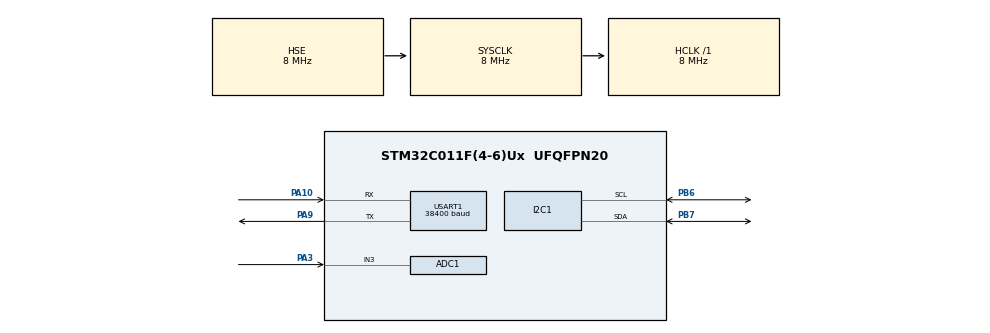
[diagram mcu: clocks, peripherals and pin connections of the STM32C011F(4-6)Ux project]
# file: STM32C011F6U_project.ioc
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ADC1.Channel-0\#ChannelRegularConversion=ADC_CHANNEL_3
ADC1.NbrOfConversionFlag=1
ADC1.Rank-0\#ChannelRegularConversion=1
ADC1.SamplingTime-0\#ChannelRegularConversion=ADC_SAMPLINGTIME_COMMON_1
ADC1.SelectedChannel=ADC_CHANNEL_3
ADC1.master=1
I2C1.NoStretchMode=I2C_NOSTRETCH_ENABLE
I2C1.Timing=0x2000090E
Mcu.Family=STM32C0
Mcu.Name=STM32C011F(4-6)Ux
Mcu.Package=UFQFPN20
NVIC.I2C1_IRQn=true\:0\:0\:false\:false\:true\:true\:true\:true
PA10\ [PA12].GPIO_Speed=GPIO_SPEED_FREQ_VERY_HIGH
PA10\ [PA12].Mode=Asynchronous
PA10\ [PA12].Signal=USART1_RX
PA13.Mode=Serial_Wire
PA13.Signal=DEBUG_SWDIO
PA14-BOOT0.Mode=Serial_Wire
PA14-BOOT0.Signal=DEBUG_SWCLK
PA3.Mode=IN3
PA3.Signal=ADC1_IN3
PA9\ [PA11].GPIO_Speed=GPIO_SPEED_FREQ_VERY_HIGH
PA9\ [PA11].Mode=Asynchronous
PA9\ [PA11].Signal=USART1_TX
PB6.GPIO_Speed=GPIO_SPEED_FREQ_VERY_HIGH
PB6.Mode=I2C
PB6.Signal=I2C1_SCL
PB7.GPIO_Speed=GPIO_SPEED_FREQ_VERY_HIGH
PB7.Mode=I2C
PB7.Signal=I2C1_SDA
PC14-OSCX_IN\ (PC14).Mode=HSE-External-Oscillator-REMAPPED
PC14-OSCX_IN\ (PC14).Signal=RCC_OSCX_IN
PC15-OSCX_OUT\ (PC15).Mode=HSE-External-Oscillator-REMAPPED
PC15-OSCX_OUT\ (PC15).Signal=RCC_OSCX_OUT
ProjectManager.HeapSize=0x200
ProjectManager.StackSize=0x400
ProjectManager.TargetToolchain=STM32CubeIDE
RCC.ADCFreq_Value=8000000
RCC.AHBFreq_Value=8000000
RCC.CortexFreq_Value=8000000
RCC.EXTERNAL_CLOCK_VALUE=12288000
RCC.EnbaleCSS=true
RCC.HCLKFreq_Value=8000000
RCC.HSE_VALUE=8000000
RCC.HSI_VALUE=48000000
RCC.LSE_VALUE=32768
RCC.SYSCLKFreq_VALUE=8000000
RCC.SYSCLKSource=RCC_SYSCLKSOURCE_HSE
USART1.BaudRate=38400
USART1.DMADisableonRxErrorParam=ADVFEATURE_DMA_DISABLEONRXERROR
USART1.SwapParam=ADVFEATURE_SWAP_DISABLE
USART1.VirtualMode-Asynchronous=VM_ASYNC
VP_SYS_VS_PINREMAP.Mode=PINREMAP
VP_SYS_VS_PINREMAP_10_12.Mode=PINREMAP_10_12
board=custom

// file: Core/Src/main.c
/* USER CODE BEGIN Header */
/**
  ******************************************************************************
  * @file           : main.c
  * @brief          : Main program body
  ******************************************************************************
  * @attention
  *
  * Copyright (c) 2025 STMicroelectronics.
  * All rights reserved.
  *
  * This software is licensed under terms that can be found in the LICENSE file
  * in the root directory of this software component.
  * If no LICENSE file comes with this software, it is provided AS-IS.
  *
  ******************************************************************************
  */
/* USER CODE END Header */
#include "main.h"

/* USER CODE BEGIN Includes */
#include "sensor_types.h"
#include <stdint.h>
#include <string.h>
#include <stdio.h>
#include <math.h>
#include "stm32c0xx_hal_flash.h"
/* USER CODE END Includes */

/* USER CODE BEGIN PTD */
// Old structure removed - now using BLDM sensor format with float values

/* USER CODE END PTD */

/* USER CODE BEGIN PD */
// Old frame validation constants removed - now using BLDM sensor format
/* USER CODE END PD */

/* USER CODE BEGIN PM */
#define UART_RESPONSE_NO_ERROR (0x00)
#define I2C_CMD_ZERO_SENSOR     (0x01)  // I2C command byte to trigger zero sensor calibration
#define I2C_CMD_SPAN_SENSOR     (0x02)  // I2C command byte to trigger span sensor calibration
#define I2C_CMD_ZERO_CALCCONC   (0x05)  // I2C command: zero CalcConc (adjust coeff_c to zero CalcConc, stored in Flash)
#define CAL_STATUS_INVALID_MARKER 0xFF  // Marker value to indicate calibration status is not valid (display as "xxxx")

// Flash storage for coeff_c (stored in last Flash page)
// STM32C0 requires 8-byte (double word) alignment for Flash programming
#define FLASH_COEFF_C_MAGIC     0x434F4546UL  // Magic number: "COEF" in ASCII
#define FLASH_COEFF_C_PAGE      15U           // Use last page (page 15) for storage
#define FLASH_COEFF_C_ADDRESS   (FLASH_BASE + (FLASH_COEFF_C_PAGE * FLASH_PAGE_SIZE))  // Address in last page (must be 8-byte aligned)
#define FLASH_COEFF_C_MAGIC_OFFSET  0   // Magic number at offset 0 (first 4 bytes)
#define FLASH_COEFF_C_VALUE_OFFSET  4   // coeff_c float value at offset 4 (next 4 bytes)
/* USER CODE END PM */

ADC_HandleTypeDef hadc1;

I2C_HandleTypeDef hi2c1;

UART_HandleTypeDef huart1;

/* USER CODE BEGIN PV */
uint8_t  uart_rx_buffer[32] = { 0u };  // Buffer for BLDM sensor response (23 bytes)
uint8_t  i2c_slave_cmd_expected_length = 0xFE;
uint8_t  i2c_slave_rx_buffer[64] = { 0u };
uint32_t i2c_errors = 0uL;
static uint8_t i2cTxBuf[21];  // 21 bytes: 19 payload (BoardID[2] + Concentration[4] + Temperature[2] + Humidity[1] + Absorptivity[2] + ADC[2] + CalStatus[2] + CalcConc[4]) + CRC16[2]
static uint8_t i2cDummyRx;
static volatile uint8_t i2c_data_ready = 0u;
static uint8_t i2c_cmd_byte = 0u;  // Buffer to receive I2C write command byte
static volatile uint8_t i2c_busy = 0u;  // Flag to prevent BuildI2CTxBuf during I2C operations
static volatile uint8_t zero_sensor_pending = 0u;  // Flag to indicate zero sensor command needs to be processed in main loop
static volatile uint8_t span_sensor_pending = 0u;  // Flag to indicate span sensor command needs to be processed in main loop
static volatile uint8_t zero_calc_conc_pending = 0u;  // Flag: Zero CalcConc command received, process in main loop
static int32_t last_calc_conc_avg = 0;  // Last CalcConc written to I2C buffer; used when Zero CalcConc runs (signed 32-bit)
static float coeff_c_rw;  // Runtime coeff_c; init from Flash (or default if Flash is empty); Zero CalcConc adjusts and saves to Flash
static uint8_t span_value_bytes[4] = { 0u };  // Buffer to receive 4-byte span value from I2C master
static volatile uint8_t waiting_for_span_bytes = 0u;  // Flag to indicate we're waiting for span data bytes
static uint32_t polling_suspend_until = 0uL;  // Timestamp when polling should resume (0 = not suspended)
static uint8_t calibration_response_buffer[32] = { 0u };  // Buffer to store calibration command response from sensor
static uint8_t calibration_response_length = 0u;  // Length of calibration response received
static volatile uint8_t calibration_response_ready = 0u;  // Flag indicating calibration response is available
static uint8_t calibration_status_byte7 = CAL_STATUS_INVALID_MARKER;  // 7th byte from Command 3 or 6 response (status byte 1)
static uint8_t calibration_status_byte8 = CAL_STATUS_INVALID_MARKER;  // 8th byte from Command 3 or 6 response (status byte 2)
static volatile uint8_t calibration_status_valid = 0u;  // Flag indicating calibration status bytes are valid

// Zero sensor command sequence - six commands with delays
// Command 1: FB 68 08 00 00 60 00 80 98 31 FC
static const uint8_t zero_sensor_uart_cmd_1[] = { 0xFB, 0x68, 0x08, 0x00, 0x00, 0x60, 0x00, 0x80, 0x98, 0x31, 0xFC };
// Command 2: FB 68 08 00 00 60 00 00 1B 32 FC
static const uint8_t zero_sensor_uart_cmd_2[] = { 0xFB, 0x68, 0x08, 0x00, 0x00, 0x60, 0x00, 0x00, 0x1B, 0x32, 0xFC };
// Command 3: FB 68 08 00 00 60 00 82 18 3E FC
static const uint8_t zero_sensor_uart_cmd_3[] = { 0xFB, 0x68, 0x08, 0x00, 0x00, 0x60, 0x00, 0x82, 0x18, 0x3E, 0xFC };
// Command 4: FB 68 08 00 00 60 01 80 1E 32 FC
static const uint8_t zero_sensor_uart_cmd_4[] = { 0xFB, 0x68, 0x08, 0x00, 0x00, 0x60, 0x01, 0x80, 0x1E, 0x32, 0xFC };
// Command 5: FB 68 08 00 00 60 01 00 9D 31 FC
static const uint8_t zero_sensor_uart_cmd_5[] = { 0xFB, 0x68, 0x08, 0x00, 0x00, 0x60, 0x01, 0x00, 0x9D, 0x31, 0xFC };
// Command 6: FB 68 08 00 00 60 01 82 9E 3D FC
static const uint8_t zero_sensor_uart_cmd_6[] = { 0xFB, 0x68, 0x08, 0x00, 0x00, 0x60, 0x01, 0x82, 0x9E, 0x3D, 0xFC };

/* USER CODE END PV */

void SystemClock_Config(void);
static void MX_GPIO_Init(void);
static void MX_ADC1_Init(void);
static void MX_I2C1_Init(void);
static void MX_USART1_UART_Init(void);
/* USER CODE BEGIN PFP */
static uint16_t read_adc12_once(void);
static void BuildI2CTxBuf(void);
static int32_t calculate_calc_conc(float absorptivity);
static uint16_t crc16_custom(const uint8_t *data, uint16_t len);
static void send_span_sensor_command(const uint8_t *span_bytes);
static uint8_t receive_calibration_response(void);
static void send_zero_sensor_sequence(void);
static uint8_t read_coeff_c_from_flash(float *coeff_c);
static uint8_t write_coeff_c_to_flash(float coeff_c);

void HAL_I2C_AddrCallback(I2C_HandleTypeDef *hi2c, uint8_t TransferDirection, uint16_t AddrMatchCode)
{
  (void)AddrMatchCode;
  if (hi2c->Instance != I2C1) {
    return;
  }

  /* New START = new transaction: clear any stuck state from a previous incomplete transaction
   * (code otherwise only clears i2c_busy on ListenCplt or Error; one incomplete transfer could leave it stuck) */
  i2c_busy = 0u;
  i2c_busy = 1u;  // Set flag to prevent BuildI2CTxBuf from running during this transaction

  /* When master reads from slave, transmit buffer */
  if (TransferDirection == I2C_DIRECTION_RECEIVE) {
      /* Normal sensor data - transmit pre-built buffer (21 bytes: 19 payload + CRC-16) */
      if (HAL_OK != HAL_I2C_Slave_Seq_Transmit_IT(hi2c, i2cTxBuf, sizeof(i2cTxBuf), I2C_LAST_FRAME)) {
          i2c_busy = 0u;
          i2c_errors++;  // Diagnostic: track transmit errors
          Error_Handler();
      }
  } else {
    /* Master writing to us - could be:
     * 1. I2C scan (0-1 bytes, then STOP immediately)
     * 2. Zero sensor command (1 byte: 0x01)
     * 3. Span sensor command (1 byte: 0x02 + 4 data bytes)
     */
    /* Clear state flags for new transaction */
    waiting_for_span_bytes = 0u;
    i2c_cmd_byte = 0u;  // Clear command byte

    /* Receive command byte into buffer - use FIRST_FRAME in case more bytes follow */
    HAL_I2C_Slave_Seq_Receive_IT(hi2c, &i2c_cmd_byte, 1, I2C_FIRST_FRAME);
    /* Don't check return value here - during scan master may send STOP immediately after address */
    /* Command byte will be processed in HAL_I2C_SlaveRxCpltCallback */
  }
}

void HAL_I2C_ListenCpltCallback(I2C_HandleTypeDef *hi2c)
{
  if (hi2c->Instance == I2C1) {
    i2c_busy = 0u;  // Clear flag - I2C transaction complete

    /* Restart listening to handle next transaction */
    HAL_I2C_EnableListen_IT(hi2c);
  }
}

/* Callback when slave receive completes - check for zero sensor or span sensor command */
void HAL_I2C_SlaveRxCpltCallback(I2C_HandleTypeDef *hi2c)
{
  if (hi2c->Instance != I2C1) {
    return;
  }

  /* Check if we're waiting for span data bytes */
  if (waiting_for_span_bytes) {
    /* The 4 span data bytes have been received - set flag for main loop to process */
    waiting_for_span_bytes = 0u;  // Clear waiting flag
    span_sensor_pending = 1u;     // Set flag to process span command in main loop
    i2c_cmd_byte = 0u;             // Clear command byte
    return;
  }

  /* First byte received - check command type */
  if (i2c_cmd_byte == I2C_CMD_ZERO_SENSOR) {
    /* Zero sensor command detected (0x01) - set flag for main loop to handle */
    /* CRITICAL: Do NOT do blocking UART operations here - it interferes with I2C state machine */
    /* Defer UART operations to main loop to avoid blocking I2C transaction completion */
    zero_sensor_pending = 1u;
    i2c_cmd_byte = 0u;  // Clear command byte
  } else if (i2c_cmd_byte == I2C_CMD_SPAN_SENSOR) {
    /* Span sensor command detected (0x02) - need to receive 4 data bytes */
    waiting_for_span_bytes = 1u;  // Set flag to indicate we're waiting for data bytes
    /* Initiate receive of 4 data bytes into span_value_bytes buffer */
    HAL_I2C_Slave_Seq_Receive_IT(hi2c, span_value_bytes, 4, I2C_LAST_FRAME);
    /* Don't clear i2c_cmd_byte yet - we'll clear it after data bytes arrive */
  } else if (i2c_cmd_byte == I2C_CMD_ZERO_CALCCONC) {
    /* Zero CalcConc (0x05): subtract current CalcConc from coeff_c; defer to main loop */
    zero_calc_conc_pending = 1u;
    i2c_cmd_byte = 0u;
  } else {
    /* Unknown command or I2C scan - ignore it */
    i2c_cmd_byte = 0u;  // Clear command byte
  }
}

void HAL_I2C_ErrorCallback(I2C_HandleTypeDef *hi2c)
{
  if (hi2c->Instance == I2C1) {
    i2c_busy = 0u;  // Clear flag on error to allow recovery
    i2c_errors++;   // Diagnostic: track errors
    /* Recover by re-enabling listen */
    HAL_I2C_EnableListen_IT(hi2c);
  }
}

static uint16_t read_adc12_once(void)
{
  uint16_t value = 0;
  if (HAL_ADC_Start(&hadc1) == HAL_OK) {
    if (HAL_ADC_PollForConversion(&hadc1, 10) == HAL_OK) {
      value = (uint16_t)HAL_ADC_GetValue(&hadc1);
    }
    HAL_ADC_Stop(&hadc1);
  }
  return value;
}

// Read coeff_c from Flash memory
// If flash contains valid data (magic matches) and value is finite, use it;
// otherwise use default (avoids NaN/Inf or garbage from corrupted flash).
// Returns 1 if magic matched (value may have been replaced with default if not finite), 0 otherwise.
static uint8_t read_coeff_c_from_flash(float *coeff_c)
{
  uint32_t magic = *(volatile uint32_t*)(FLASH_COEFF_C_ADDRESS + FLASH_COEFF_C_MAGIC_OFFSET);

  if (magic == FLASH_COEFF_C_MAGIC) {
    *coeff_c = *(volatile float*)(FLASH_COEFF_C_ADDRESS + FLASH_COEFF_C_VALUE_OFFSET);
    // If not finite (NaN, Inf, corrupted), use default so CalcConc is always valid
    if (!isfinite(*coeff_c)) {
      *coeff_c = sensor_quadratic_coeffs.coeff_c;
    }
    return 1u;
  }

  return 0u;  // Flash empty or invalid, use default (caller assigns)
}

// Write coeff_c to Flash memory
// Returns 1 on success, 0 on failure
// Note: STM32C0 requires 8-byte (double word) programming
static uint8_t write_coeff_c_to_flash(float coeff_c)
{
  FLASH_EraseInitTypeDef EraseInitStruct;
  uint32_t PageError = 0;
  HAL_StatusTypeDef status;
  uint32_t magic = FLASH_COEFF_C_MAGIC;
  uint32_t value_as_uint32;
  uint64_t double_word_data;

  // Unlock Flash
  if (HAL_FLASH_Unlock() != HAL_OK) {
    return 0u;
  }

  // Erase the page containing coeff_c
  EraseInitStruct.TypeErase = FLASH_TYPEERASE_PAGES;
  EraseInitStruct.Page = FLASH_COEFF_C_PAGE;
  EraseInitStruct.NbPages = 1;

  status = HAL_FLASHEx_Erase(&EraseInitStruct, &PageError);
  if (status != HAL_OK) {
    HAL_FLASH_Lock();
    return 0u;
  }

  // Combine magic number and coeff_c into a 64-bit double word
  // Lower 32 bits: magic number, Upper 32 bits: coeff_c float value
  memcpy(&value_as_uint32, &coeff_c, sizeof(float));
  double_word_data = ((uint64_t)value_as_uint32 << 32) | (uint64_t)magic;

  // Program as double word (8 bytes) at 8-byte aligned address
  status = HAL_FLASH_Program(FLASH_TYPEPROGRAM_DOUBLEWORD,
                              FLASH_COEFF_C_ADDRESS + FLASH_COEFF_C_MAGIC_OFFSET,
                              double_word_data);

  // Lock Flash
  HAL_FLASH_Lock();

  return (status == HAL_OK) ? 1u : 0u;
}

/* USER CODE END PFP */

/* USER CODE BEGIN 0: helpers */
// BLDM sensor checksum calculation (sum16)
static uint16_t bldm_sum16(const uint8_t *data, uint16_t len)
{
  uint32_t sum = 0;
  for (uint16_t i = 0; i < len; i++) {
    sum += data[i];
  }
  return (uint16_t)(sum & 0xFFFF);
}

// Build BLDM simple read request (17 bytes total)
static void bldm_build_request(uint8_t *req_buffer)
{
  uint8_t idx = 0;

  // Frame structure: START, RD, PAYLOAD(9), DLE, EOF, CHECKSUM(4)
  req_buffer[idx++] = 0xA5;  // START
  req_buffer[idx++] = 0x13;  // RD
  req_buffer[idx++] = 0x06;  // PAYLOAD[0] = 0x06 (simple read)
  for (int i = 0; i < 8; i++) {
    req_buffer[idx++] = 0x00;  // PAYLOAD[1..8] zeros
  }
  req_buffer[idx++] = 0x10;  // DLE
  req_buffer[idx++] = 0x1F;  // EOF

  // Calculate checksum over bytes 0-12 (START through EOF)
  uint16_t cs = bldm_sum16(req_buffer, 13);
  uint8_t hi = (uint8_t)(cs >> 8);
  uint8_t lo = (uint8_t)(cs & 0xFF);

  // Append checksum as 4 nibble bytes
  req_buffer[idx++] = (hi >> 4) & 0x0F;
  req_buffer[idx++] = hi & 0x0F;
  req_buffer[idx++] = (lo >> 4) & 0x0F;
  req_buffer[idx++] = lo & 0x0F;
}

static void BuildI2CTxBuf(void)
{
  /* Populate TX buffer via UART sensor reply using BLDM sensor format */
  uint8_t bldm_request[17];
  float concentration_float = 0.0f;
  float temperature_float = 0.0f;
  float humidity_float = 0.0f;
  float absorptivity_float = 0.0f;

  /* CRITICAL: Flush any pending UART receive data before starting new transaction */
  /* This ensures we don't read stale data from previous transactions */
  uint8_t dummy;
  for (int i = 0; i < 32; i++) {  // Drain up to 32 bytes
    if (HAL_UART_Receive(&huart1, &dummy, 1, 1) != HAL_OK) {
      break;  // No more data available
    }
  }

  // Build BLDM request frame
  bldm_build_request(bldm_request);

  // Send BLDM request
  if (HAL_UART_Transmit(&huart1, bldm_request, sizeof(bldm_request), 100) != HAL_OK) {
    return;  // UART transmit failed - keep existing buffer data
  }

  // Receive BLDM response - expect 23 bytes
  // Frame structure: START(1) DAT(1) LEN(1) DATA(16) DLE(1) EOF(1) CHECK(2)
  const uint16_t bldm_response_length = 23;
  if (HAL_UART_Receive(&huart1, uart_rx_buffer, bldm_response_length, 500) != HAL_OK) {
    return;  // UART receive failed or timeout - keep existing buffer data
  }

  // Validate frame header
  if (uart_rx_buffer[0] != 0xA5) {
    return;  // Invalid START byte
  }
  if (uart_rx_buffer[1] != 0x1A) {
    return;  // Invalid CMD byte (expected DAT=0x1A)
  }
  if (uart_rx_buffer[2] != 0x10) {
    return;  // Invalid DATA_LEN (expected 0x10 = 16 bytes)
  }
  if (uart_rx_buffer[19] != 0x10 || uart_rx_buffer[20] != 0x1F) {
    return;  // Invalid DLE/EOF
  }

  // Verify checksum (bytes 0-20, checksum is bytes 21-22)
  uint16_t rx_checksum = ((uint16_t)uart_rx_buffer[21] << 8) | uart_rx_buffer[22];
  uint16_t calc_checksum = bldm_sum16(uart_rx_buffer, 21);
  if (rx_checksum != calc_checksum) {
    return;  // Checksum mismatch
  }

  // Parse 4 floats (little-endian) from bytes 3-18 (16 bytes total)
  // Byte order: bytes 3-6 = concentration, 7-10 = temperature, 11-14 = humidity, 15-18 = absorptivity
  memcpy(&concentration_float, &uart_rx_buffer[3],  4);
  memcpy(&temperature_float,  &uart_rx_buffer[7],  4);
  memcpy(&humidity_float,     &uart_rx_buffer[11], 4);
  memcpy(&absorptivity_float, &uart_rx_buffer[15], 4);

  // Convert floats to integer values for I2C transmission
  // Concentration: float -> int32_t (signed, ppm × 100 for 2 decimal places; negative allowed)
  float concentration_scaled = concentration_float * 100.0f;
  if (concentration_scaled > (float)INT32_MAX) {
    concentration_scaled = (float)INT32_MAX;
  } else if (concentration_scaled < (float)INT32_MIN) {
    concentration_scaled = (float)INT32_MIN;
  }
  int32_t concentration_value = (int32_t)roundf(concentration_scaled);

  // Temperature: float -> uint16_t (in degrees C, multiply by 10 to preserve 1 decimal place)
  // Temperature can be negative, so we'll use offset encoding: add 1000 to make it always positive
  int16_t temp_int = (int16_t)(temperature_float * 10.0f + 0.5f);
  uint16_t temperature_value = (uint16_t)(temp_int + 1000);  // Offset by 1000 to handle negative values

  // Humidity: float -> uint8_t (in %, round to nearest integer)
  uint8_t humidity_value = (uint8_t)(humidity_float + 0.5f);
  if (humidity_value > 100) humidity_value = 100;  // Clamp to 0-100%

  // Absorptivity: float -> uint16_t (multiply by 1000 to preserve 3 decimal places)
  uint16_t absorptivity_value = (uint16_t)(absorptivity_float * 1000.0f + 0.5f);

  // Validate absorptivity value - if > 50000, likely invalid (negative value or corruption)
  // Set to 0 to indicate invalid reading
  if (absorptivity_value > 50000) {
    absorptivity_value = 0;
  }

  // Build I2C TX buffer
  uint8_t o = 0u;
  // Write board identifier (2 bytes: major.minor, e.g., 0x86 0x40 = "86-40")
  i2cTxBuf[o++] = GetSensorBoardIdMajor();  // Value 1: Board ID Major
  i2cTxBuf[o++] = GetSensorBoardIdMinor();  // Value 2: Board ID Minor
  // Concentration: signed 32-bit big-endian (two's complement)
  uint32_t concentration_bits = (uint32_t)concentration_value;
  i2cTxBuf[o++] = (uint8_t)((concentration_bits >> 24) & 0xFF);  // Value 3: Concentration (MSB)
  i2cTxBuf[o++] = (uint8_t)((concentration_bits >> 16) & 0xFF);
  i2cTxBuf[o++] = (uint8_t)((concentration_bits >>  8) & 0xFF);
  i2cTxBuf[o++] = (uint8_t)( concentration_bits        & 0xFF);   // (LSB)
  i2cTxBuf[o++] = (uint8_t)((temperature_value >> 8) & 0xFF);  // Value 4: Temperature (MSB)
  i2cTxBuf[o++] = (uint8_t)((temperature_value     ) & 0xFF);  // (LSB)
  i2cTxBuf[o++] = humidity_value;  // Value 5: Humidity
  i2cTxBuf[o++] = (uint8_t)((absorptivity_value >>  8) & 0xFF);  // Value 6: Absorptivity (MSB)
  i2cTxBuf[o++] = (uint8_t)((absorptivity_value      ) & 0xFF);  // (LSB)

  uint16_t adc = read_adc12_once();
  i2cTxBuf[o++] = (uint8_t)((adc >> 8) & 0xFF);  // Value 7: ADC Value (MSB)
  i2cTxBuf[o++] = (uint8_t)( adc       & 0xFF);  // (LSB)

  // Add calibration status bytes (7th and 8th bytes from Command 3 or 6 response)
  // CRITICAL: Always read from static variables to ensure consistency
  // The calibration sequences update these variables, and BuildI2CTxBuf preserves them
  // During suspension, BuildI2CTxBuf is not called (polling_suspended prevents it)
  // After suspension ends, the bytes are reset to invalid marker before BuildI2CTxBuf runs again
  i2cTxBuf[o++] = calibration_status_byte7;  // Byte 13: Calibration status byte 7
  i2cTxBuf[o++] = calibration_status_byte8;  // Byte 14: Calibration status byte 8

  // Calculate CalcConc from Absorptivity using quadratic equation (signed 32-bit, two's complement)
  // Equation: CalcConc = a * absorptivity^2 + b * absorptivity + c
  // coeff_c is coeff_c_rw (default at power-up, adjusted by Zero CalcConc in RAM)
  int32_t calc_conc = calculate_calc_conc((float)absorptivity_value);
  last_calc_conc_avg = calc_conc;  // For Zero CalcConc command: subtract this from coeff_c

  // Add CalcConc as signed 32-bit big-endian (two's complement)
  i2cTxBuf[o++] = (uint8_t)((calc_conc >> 24) & 0xFF);  // Byte 15: CalcConc MSB
  i2cTxBuf[o++] = (uint8_t)((calc_conc >> 16) & 0xFF);  // Byte 16: CalcConc byte 2
  i2cTxBuf[o++] = (uint8_t)((calc_conc >>  8) & 0xFF);  // Byte 17: CalcConc byte 3
  i2cTxBuf[o++] = (uint8_t)( calc_conc        & 0xFF);   // Byte 18: CalcConc LSB

  // CRC-16 over bytes 0-18 (polynomial 0x8005, init 0x0000); result in bytes 19-20 big-endian
  uint16_t crc = crc16_custom(i2cTxBuf, 19);
  i2cTxBuf[19] = (uint8_t)((crc >> 8) & 0xFF);  // CRC MSB
  i2cTxBuf[20] = (uint8_t)( crc       & 0xFF);  // CRC LSB

  i2c_data_ready = 1u;
}

// Calculate CalcConc from Absorptivity using quadratic equation
// Equation: CalcConc = a * absorptivity^2 + b * absorptivity + c
// Note: No offset subtraction - absorptivity value used directly (unlike NDIR_LPHC_QuadEq)
// coeff_c is coeff_c_rw (default at power-up, adjusted by Zero CalcConc in RAM)
// Result is signed 32-bit (two's complement); negative values allowed
static int32_t calculate_calc_conc(float absorptivity)
{
  // Coefficients: coeff_a, coeff_b from sensor_types.h; coeff_c is coeff_c_rw (RAM, adjusted by Zero CalcConc)
  float calc_conc_float = sensor_quadratic_coeffs.coeff_a * absorptivity * absorptivity
                        + sensor_quadratic_coeffs.coeff_b * absorptivity
                        + coeff_c_rw;

  // No clamp: allow negative values (signed 32-bit). Clamp to int32_t range to avoid undefined conversion
  if (calc_conc_float > (float)INT32_MAX) {
    calc_conc_float = (float)INT32_MAX;
  } else if (calc_conc_float < (float)INT32_MIN) {
    calc_conc_float = (float)INT32_MIN;
  }

  // Convert to int32_t (round to nearest integer)
  return (int32_t)roundf(calc_conc_float);
}

// CRC-16 calculation with polynomial x^16 + x^15 + x^2 + 1 = 0x8005
// Matches Python implementation provided
static uint16_t crc16_custom(const uint8_t *data, uint16_t len)
{
  uint16_t crc = 0x0000;  // Initial value
  uint16_t poly = 0x8005;  // Polynomial

  for (uint16_t i = 0; i < len; i++) {
    crc ^= ((uint16_t)data[i] << 8);
    for (uint8_t bit = 0; bit < 8; bit++) {
      if (crc & 0x8000) {
        crc = ((crc << 1) ^ poly) & 0xFFFF;
      } else {
        crc = (crc << 1) & 0xFFFF;
      }
    }
  }

  return crc;
}

// Send span sensor command over UART
// Format: FB 68 0C 00 00 53 00 01 xx xx xx xx CRC_H CRC_L FC
// where xx xx xx xx are the 4 span value bytes from ESP32
static void send_span_sensor_command(const uint8_t *span_bytes)
{
  // Build the UART command frame
  // Header: FB 68 0C (0x0C = 12 bytes of data following)
  // Fixed bytes: 00 00 53 00 01
  // Span value: span_bytes[0-3] (4 bytes from ESP32)
  // CRC: 2 bytes (calculated over FB 68 0C 00 00 53 00 01 + span_bytes)
  // Footer: FC

  uint8_t uart_cmd[16];  // Total frame size: 3 header + 12 data + 1 footer = 16 bytes
  uint8_t idx = 0;

  // Header
  uart_cmd[idx++] = 0xFB;
  uart_cmd[idx++] = 0x68;
  uart_cmd[idx++] = 0x0C;  // Length: 12 bytes of data

  // Fixed bytes
  uart_cmd[idx++] = 0x00;
  uart_cmd[idx++] = 0x00;
  uart_cmd[idx++] = 0x53;
  uart_cmd[idx++] = 0x00;
  uart_cmd[idx++] = 0x01;

  // Span value bytes (4 bytes from ESP32)
  uart_cmd[idx++] = span_bytes[0];
  uart_cmd[idx++] = span_bytes[1];
  uart_cmd[idx++] = span_bytes[2];
  uart_cmd[idx++] = span_bytes[3];

  // Calculate CRC over: FB 68 0C 00 00 53 00 01 + span_bytes (total 12 bytes)
  // CRC calculation range: from FB to end of span_bytes (12 bytes)
  uint16_t crc = crc16_custom(uart_cmd, 12);  // Calculate CRC over first 12 bytes (FB to span_bytes)

  // Append CRC (big-endian: high byte first, then low byte)
  uart_cmd[idx++] = (uint8_t)((crc >> 8) & 0xFF);  // CRC high byte
  uart_cmd[idx++] = (uint8_t)(crc & 0xFF);          // CRC low byte

  // Footer
  uart_cmd[idx++] = 0xFC;

  // Send complete frame over UART
  // Clear any pending UART data first
  uint8_t dummy;
  for (int i = 0; i < 32; i++) {
    if (HAL_UART_Receive(&huart1, &dummy, 1, 1) != HAL_OK) {
      break;
    }
  }

  // Transmit the span command
  HAL_UART_Transmit(&huart1, uart_cmd, sizeof(uart_cmd), 100);
}

// Receive calibration response from sensor after sending Zero or Span command
// Returns 1 if valid response received, 0 otherwise
static uint8_t receive_calibration_response(void)
{
  // Clear previous response
  calibration_response_length = 0u;
  calibration_response_ready = 0u;
  memset(calibration_response_buffer, 0, sizeof(calibration_response_buffer));

  // Wait for response frame - sensor typically responds with a frame starting with 0xFB 0x68
  // Try to receive up to 32 bytes with a reasonable timeout
  // First, try to receive the header (FB 68) to determine frame length
  uint8_t header[3];
  if (HAL_UART_Receive(&huart1, header, 3, 500) != HAL_OK) {
    return 0u;  // Timeout or error receiving header
  }

  // Validate header
  if (header[0] != 0xFB || header[1] != 0x68) {
    return 0u;  // Invalid header
  }

  // Byte 2 contains the length field - this indicates how many bytes follow (including footer)
  // Example: FB 68 08 00 A2 60 00 01 33 07 FC
  //          Length field = 08 means 8 bytes follow (7 data bytes + 1 footer byte)
  uint8_t bytes_following = header[2];
  uint8_t total_frame_length = 3 + bytes_following;  // Header(3) + bytes following (data + footer)

  // Sanity check: frame should be reasonable size
  if (total_frame_length > sizeof(calibration_response_buffer)) {
    return 0u;  // Frame too large
  }

  // Store header in response buffer
  calibration_response_buffer[0] = header[0];
  calibration_response_buffer[1] = header[1];
  calibration_response_buffer[2] = header[2];

  // Receive remaining bytes (data + footer)
  // The length field indicates exactly how many bytes follow (including the footer)
  // So we receive exactly 'bytes_following' bytes
  if (HAL_UART_Receive(&huart1, &calibration_response_buffer[3], bytes_following, 500) != HAL_OK) {
    return 0u;  // Timeout or error receiving data
  }

  // Validate footer (last byte should be 0xFC)
  // Total frame = 3 (header) + bytes_following (data + footer)
  // Last byte is at index: 3 + bytes_following - 1 = total_frame_length - 1
  if (calibration_response_buffer[total_frame_length - 1] != 0xFC) {
    return 0u;  // Invalid footer
  }

  // Valid response received
  calibration_response_length = total_frame_length;
  calibration_response_ready = 1u;
  return 1u;
}

// Send zero sensor calibration sequence: 6 commands with delays
// 1. Send command 1, receive response
// 2. Delay 13 seconds
// 3. Send command 2, receive response
// 4. Delay 5 seconds
// 5. Send command 3, receive response
// 6. Delay 10 seconds
// 7. Send command 4, receive response
// 8. Delay 13 seconds
// 9. Send command 5, receive response
// 10. Delay 5 seconds
// 11. Send command 6, receive response
static void send_zero_sensor_sequence(void)
{
  uint8_t response_ok;  // Variable to store receive_calibration_response() return value
  // Step 1: Send first zero calibration command
  HAL_UART_Transmit(&huart1, (uint8_t*)zero_sensor_uart_cmd_1, sizeof(zero_sensor_uart_cmd_1), 100);
  receive_calibration_response();  // Receive and store response

  // Step 2: Delay 13 seconds (13000ms) - increased from 3 seconds
  HAL_Delay(13000);

  // Step 3: Send second zero calibration command
  HAL_UART_Transmit(&huart1, (uint8_t*)zero_sensor_uart_cmd_2, sizeof(zero_sensor_uart_cmd_2), 100);
  receive_calibration_response();  // Receive and store response

  // Step 4: Delay 5 seconds (5000ms) - decreased from 10 seconds
  HAL_Delay(5000);

  // Step 5: Send third zero calibration command
  HAL_UART_Transmit(&huart1, (uint8_t*)zero_sensor_uart_cmd_3, sizeof(zero_sensor_uart_cmd_3), 100);
  // Receive response and extract calibration status bytes
  // receive_calibration_response() validates the frame structure and sets calibration_response_length
  // For a frame with length=0x08: total = 12 bytes, so we can safely access indices 6 and 7
  // If receive_calibration_response() returns 1, we have a valid frame with at least 8 bytes
  response_ok = receive_calibration_response();
  // Extract 7th and 8th bytes (indices 6 and 7) from response buffer ONLY if we got a valid response
  // Frame structure: FB 68 [length] [data...] FC
  // For length=0x08: total frame = 12 bytes (3 header + 8 data + 1 footer)
  // Bytes at indices 6 and 7 are the 7th and 8th bytes of the response frame
  // Example: FB 68 08 00 A2 60 00 01 33 07 FC
  //          Index: 0  1  2  3  4  5  6  7  8  9 10
  //          Byte 7 = index 6 = 0x00, Byte 8 = index 7 = 0x01
  if (response_ok != 0u) {
    // We have a valid response - check length to ensure safe array access
    if (calibration_response_length >= 8u) {
      calibration_status_byte7 = calibration_response_buffer[6];
      calibration_status_byte8 = calibration_response_buffer[7];
      calibration_status_valid = 1u;
      // Force update I2C buffer immediately with new calibration status
      // This ensures the status bytes are available for the next I2C read
      // Calibration status bytes are at indices 13-14 (after 2-byte board ID + 12 sensor data bytes)
      i2cTxBuf[13] = calibration_status_byte7;
      i2cTxBuf[14] = calibration_status_byte8;
    }
  }

  // Step 6: Delay 10 seconds (10000ms)
  HAL_Delay(10000);

  // Step 7: Send fourth zero calibration command
  HAL_UART_Transmit(&huart1, (uint8_t*)zero_sensor_uart_cmd_4, sizeof(zero_sensor_uart_cmd_4), 100);
  receive_calibration_response();  // Receive and store response

  // Step 8: Delay 13 seconds (13000ms) - increased from 3 seconds
  HAL_Delay(13000);

  // Step 9: Send fifth zero calibration command
  HAL_UART_Transmit(&huart1, (uint8_t*)zero_sensor_uart_cmd_5, sizeof(zero_sensor_uart_cmd_5), 100);
  receive_calibration_response();  // Receive and store response

  // Step 10: Delay 5 seconds (5000ms) - decreased from 10 seconds
  HAL_Delay(5000);

  // Step 11: Send sixth zero calibration command
  HAL_UART_Transmit(&huart1, (uint8_t*)zero_sensor_uart_cmd_6, sizeof(zero_sensor_uart_cmd_6), 100);
  // Receive response and extract calibration status bytes
  // receive_calibration_response() validates the frame structure and sets calibration_response_length
  // For a frame with length=0x08: total = 12 bytes, so we can safely access indices 6 and 7
  // If receive_calibration_response() returns 1, we have a valid frame with at least 8 bytes
  response_ok = receive_calibration_response();
  // Extract 7th and 8th bytes (indices 6 and 7) from response buffer ONLY if we got a valid response
  // Frame structure: FB 68 [length] [data...] FC
  // For length=0x08: total frame = 12 bytes (3 header + 8 data + 1 footer)
  // Bytes at indices 6 and 7 are the 7th and 8th bytes of the response frame
  // Example: FB 68 08 00 4C 60 00 00 6B 2F FC
  //          Index: 0  1  2  3  4  5  6  7  8  9 10
  //          Byte 7 = index 6 = 0x00, Byte 8 = index 7 = 0x00
  if (response_ok != 0u) {
    // We have a valid response - check length to ensure safe array access
    if (calibration_response_length >= 8u) {
      calibration_status_byte7 = calibration_response_buffer[6];
      calibration_status_byte8 = calibration_response_buffer[7];
      calibration_status_valid = 1u;
      // Force update I2C buffer immediately with new calibration status
      // This ensures the status bytes are available for the next I2C read
      // Calibration status bytes are at indices 13-14 (after 2-byte board ID + 12 sensor data bytes)
      i2cTxBuf[13] = calibration_status_byte7;
      i2cTxBuf[14] = calibration_status_byte8;
    }
  }
}

/* USER CODE END 0: helpers */

/* USER CODE BEGIN 0 */
uint32_t ticks_without_i2c_comm = 0uL;
uint32_t uart_reply_errors_detected = 0uL;

uint32_t recorded_errors = 0uL;
/* USER CODE END 0 */

int main(void)
{

  /* MCU Configuration--------------------------------------------------------*/

  /* Reset of all peripherals, Initializes the Flash interface and the Systick. */
  HAL_Init();

  /* Configure the system clock */
  SystemClock_Config();

  /* Initialize all configured peripherals */
  MX_GPIO_Init();
  MX_ADC1_Init();
  MX_I2C1_Init();
  MX_USART1_UART_Init();
  /* USER CODE BEGIN 2 */

  /* Load coeff_c from Flash (or use default if Flash is empty/invalid) */
  if (!read_coeff_c_from_flash(&coeff_c_rw)) {
    // Flash is empty or invalid - use default value (first time only)
    coeff_c_rw = sensor_quadratic_coeffs.coeff_c;
  }

  /* Initialize I2C TX buffer with Board ID (2 bytes) */
  i2cTxBuf[0] = GetSensorBoardIdMajor();
  i2cTxBuf[1] = GetSensorBoardIdMinor();
  for (uint8_t i = 2; i < 21; i++) {
    i2cTxBuf[i] = 0;  // Clear sensor data bytes and CRC
  }
  // Initialize calibration status bytes to invalid marker (will display as "xxxx")
  i2cTxBuf[13] = CAL_STATUS_INVALID_MARKER;
  i2cTxBuf[14] = CAL_STATUS_INVALID_MARKER;
  // Initialize CalcConc to zero (bytes 15-18); bytes 19-20 are CRC (0 until BuildI2CTxBuf runs)
  i2cTxBuf[15] = 0;
  i2cTxBuf[16] = 0;
  i2cTxBuf[17] = 0;
  i2cTxBuf[18] = 0;

  /* Start listening as I2C slave at address 0x60 */
  HAL_I2C_EnableListen_IT(&hi2c1);

  /* USER CODE END 2 */

  /* Infinite loop */
  /* USER CODE BEGIN WHILE */
  volatile uint32_t just_ticks = 0uL;
  while (1)
  {
    /* USER CODE END WHILE */

    /* USER CODE BEGIN 3 */
      just_ticks++;

      /* Handle zero sensor command if pending (deferred from I2C callback to avoid blocking) */
      if (zero_sensor_pending && !i2c_busy) {
        zero_sensor_pending = 0u;  // Clear flag first to prevent re-entry

        /* Clear any pending UART data before sending to avoid interfering with BuildI2CTxBuf */
        uint8_t dummy;
        for (int i = 0; i < 32; i++) {  // Drain up to 32 bytes (larger than typical frame)
          if (HAL_UART_Receive(&huart1, &dummy, 1, 1) != HAL_OK) {
            break;  // No more data available
          }
        }

        /* Send zero sensor calibration sequence (3 commands with delays and responses) */
        send_zero_sensor_sequence();

        /* Suspend data polling for 20000ms (20 seconds) after zero sensor command sequence */
        polling_suspend_until = HAL_GetTick() + 20000uL;
      }

      /* Handle span sensor command if pending (deferred from I2C callback to avoid blocking) */
      if (span_sensor_pending && !i2c_busy) {
        span_sensor_pending = 0u;  // Clear flag first to prevent re-entry

        /* Send the span sensor command with received span value bytes */
        send_span_sensor_command(span_value_bytes);

        /* Receive and store the sensor's response */
        receive_calibration_response();

        /* Suspend data polling for 60000ms after span sensor command */
        polling_suspend_until = HAL_GetTick() + 60000uL;
      }

      /* Handle Zero CalcConc command: adjust coeff_c to zero CalcConc and save to Flash */
      if (zero_calc_conc_pending && !i2c_busy) {
        zero_calc_conc_pending = 0u;

        // Calculate adjustment needed to zero CalcConc
        // To zero CalcConc: new_coeff_c = old_coeff_c - CalcConc
        // This works for both positive and negative CalcConc values
        float adjustment = -(float)last_calc_conc_avg;
        coeff_c_rw += adjustment;  // Add adjustment (subtract if CalcConc is positive, add if negative)

        // Save updated coeff_c to Flash (non-volatile storage)
        write_coeff_c_to_flash(coeff_c_rw);
      }

      /* Update I2C TX buffer periodically (e.g., every 500 ms) to keep buffer fresh */
      /* But don't run if I2C is busy to avoid interference */
      /* Also suspend polling for 20000ms (20s) after zero sensor or 60000ms (60s) after span sensor commands */
      static uint32_t last_build = 0uL;
      uint32_t now = HAL_GetTick();

      /* Check if polling is suspended (after zero/span command) */
      /* Use difference-based comparison to handle tick wrap-around correctly */
      uint8_t polling_suspended = 0u;
      if (polling_suspend_until != 0uL) {
        /* Calculate time remaining until suspension expires */
        /* If result is > 0x7FFFFFFF, it means wrap-around occurred (suspension expired) */
        uint32_t time_remaining = polling_suspend_until - now;
        /* Check if still suspended: time_remaining must be > 0, <= 60000 (max for span sensor), and not wrapped */
        if (time_remaining > 0uL && time_remaining <= 60000uL && time_remaining < 0x80000000uL) {
          polling_suspended = 1u;  // Still suspended (time remaining is valid and <= max suspension time)
        } else {
          // Suspension period expired - reset to normal operation (match LPHC: reset cal bytes and CalcConc)
          calibration_status_byte7 = CAL_STATUS_INVALID_MARKER;
          calibration_status_byte8 = CAL_STATUS_INVALID_MARKER;
          calibration_status_valid = 0u;
          i2cTxBuf[13] = CAL_STATUS_INVALID_MARKER;
          i2cTxBuf[14] = CAL_STATUS_INVALID_MARKER;
          i2cTxBuf[15] = 0;
          i2cTxBuf[16] = 0;
          i2cTxBuf[17] = 0;
          i2cTxBuf[18] = 0;
          polling_suspend_until = 0uL;
        }
      }

      if ((now - last_build) >= 500u && !i2c_busy && !polling_suspended) {
          BuildI2CTxBuf();
          last_build = now;
      }
  }
  /* USER CODE END 3 */
}

void SystemClock_Config(void)
{
  RCC_OscInitTypeDef RCC_OscInitStruct = {0};
  RCC_ClkInitTypeDef RCC_ClkInitStruct = {0};
  __HAL_FLASH_SET_LATENCY(FLASH_LATENCY_0);

  /** Initializes the RCC Oscillators according to the specified parameters
  * in the RCC_OscInitTypeDef structure.
  */
  RCC_OscInitStruct.OscillatorType = RCC_OSCILLATORTYPE_HSE;
  RCC_OscInitStruct.HSEState = RCC_HSE_ON;
  if (HAL_RCC_OscConfig(&RCC_OscInitStruct) != HAL_OK)
  {
    Error_Handler();
  }

  /** Initializes the CPU, AHB and APB buses clocks
  */
  RCC_ClkInitStruct.ClockType = RCC_CLOCKTYPE_HCLK|RCC_CLOCKTYPE_SYSCLK
                              |RCC_CLOCKTYPE_PCLK1;
  RCC_ClkInitStruct.SYSCLKSource = RCC_SYSCLKSOURCE_HSE;
  RCC_ClkInitStruct.SYSCLKDivider = RCC_SYSCLK_DIV1;
  RCC_ClkInitStruct.AHBCLKDivider = RCC_HCLK_DIV1;
  RCC_ClkInitStruct.APB1CLKDivider = RCC_APB1_DIV1;

  if (HAL_RCC_ClockConfig(&RCC_ClkInitStruct, FLASH_LATENCY_0) != HAL_OK)
  {
    Error_Handler();
  }

  /** Enables the Clock Security System
  */
  HAL_RCC_EnableCSS();
}

static void MX_ADC1_Init(void)
{

  ADC_ChannelConfTypeDef sConfig = {0};

  /** Configure the global features of the ADC (Clock, Resolution, Data Alignment and number of conversion)
  */
  hadc1.Instance = ADC1;
  hadc1.Init.ClockPrescaler = ADC_CLOCK_SYNC_PCLK_DIV1;
  hadc1.Init.Resolution = ADC_RESOLUTION_12B;
  hadc1.Init.DataAlign = ADC_DATAALIGN_RIGHT;
  hadc1.Init.ScanConvMode = ADC_SCAN_DISABLE;
  hadc1.Init.EOCSelection = ADC_EOC_SINGLE_CONV;
  hadc1.Init.LowPowerAutoWait = DISABLE;
  hadc1.Init.LowPowerAutoPowerOff = DISABLE;
  hadc1.Init.ContinuousConvMode = DISABLE;
  hadc1.Init.NbrOfConversion = 1;
  hadc1.Init.DiscontinuousConvMode = DISABLE;
  hadc1.Init.ExternalTrigConv = ADC_SOFTWARE_START;
  hadc1.Init.ExternalTrigConvEdge = ADC_EXTERNALTRIGCONVEDGE_NONE;
  hadc1.Init.DMAContinuousRequests = DISABLE;
  hadc1.Init.Overrun = ADC_OVR_DATA_PRESERVED;
  hadc1.Init.SamplingTimeCommon1 = ADC_SAMPLETIME_160CYCLES_5;
  hadc1.Init.SamplingTimeCommon2 = ADC_SAMPLETIME_160CYCLES_5;
  hadc1.Init.OversamplingMode = DISABLE;
  hadc1.Init.TriggerFrequencyMode = ADC_TRIGGER_FREQ_HIGH;
  if (HAL_ADC_Init(&hadc1) != HAL_OK)
  {
    Error_Handler();
  }

  /** Configure Regular Channel
  */
  sConfig.Channel = ADC_CHANNEL_3;
  sConfig.Rank = ADC_REGULAR_RANK_1;
  sConfig.SamplingTime = ADC_SAMPLINGTIME_COMMON_1;
  if (HAL_ADC_ConfigChannel(&hadc1, &sConfig) != HAL_OK)
  {
    Error_Handler();
  }
  /* USER CODE BEGIN ADC1_Init 2 */

  // Perform ADC calibration for improved accuracy
  if (HAL_ADCEx_Calibration_Start(&hadc1) != HAL_OK)
  {
    Error_Handler();
  }

  /* USER CODE END ADC1_Init 2 */

}

static void MX_I2C1_Init(void)
{

  hi2c1.Instance = I2C1;
  hi2c1.Init.Timing = 0x2000090E;
  hi2c1.Init.OwnAddress1 = (THIS_SENSOR_BOARD_I2C_ADDRESS << 1);
  hi2c1.Init.AddressingMode = I2C_ADDRESSINGMODE_7BIT;
  hi2c1.Init.DualAddressMode = I2C_DUALADDRESS_DISABLE;
  hi2c1.Init.OwnAddress2 = 0;
  hi2c1.Init.OwnAddress2Masks = I2C_OA2_NOMASK;
  hi2c1.Init.GeneralCallMode = I2C_GENERALCALL_DISABLE;
  hi2c1.Init.NoStretchMode = I2C_NOSTRETCH_DISABLE;  // Enable clock stretching - allows slave to pause clock while preparing data
  if (HAL_I2C_Init(&hi2c1) != HAL_OK)
  {
    Error_Handler();
  }

  /** Configure Analogue filter
  */
  if (HAL_I2CEx_ConfigAnalogFilter(&hi2c1, I2C_ANALOGFILTER_ENABLE) != HAL_OK)
  {
    Error_Handler();
  }

  /** Configure Digital filter
  */
  if (HAL_I2CEx_ConfigDigitalFilter(&hi2c1, 0) != HAL_OK)
  {
    Error_Handler();
  }

}

static void MX_USART1_UART_Init(void)
{

  huart1.Instance = USART1;
  huart1.Init.BaudRate = 38400;
  huart1.Init.WordLength = UART_WORDLENGTH_8B;
  huart1.Init.StopBits = UART_STOPBITS_1;
  huart1.Init.Parity = UART_PARITY_NONE;
  huart1.Init.Mode = UART_MODE_TX_RX;
  huart1.Init.HwFlowCtl = UART_HWCONTROL_NONE;
  huart1.Init.OverSampling = UART_OVERSAMPLING_16;
  huart1.Init.OneBitSampling = UART_ONE_BIT_SAMPLE_DISABLE;
  huart1.Init.ClockPrescaler = UART_PRESCALER_DIV1;
  huart1.AdvancedInit.AdvFeatureInit = UART_ADVFEATURE_DMADISABLEONERROR_INIT;
  huart1.AdvancedInit.DMADisableonRxError = UART_ADVFEATURE_DMA_DISABLEONRXERROR;
  if (HAL_UART_Init(&huart1) != HAL_OK)
  {
    Error_Handler();
  }
  if (HAL_UARTEx_SetTxFifoThreshold(&huart1, UART_TXFIFO_THRESHOLD_1_8) != HAL_OK)
  {
    Error_Handler();
  }
  if (HAL_UARTEx_SetRxFifoThreshold(&huart1, UART_RXFIFO_THRESHOLD_1_8) != HAL_OK)
  {
    Error_Handler();
  }
  if (HAL_UARTEx_DisableFifoMode(&huart1) != HAL_OK)
  {
    Error_Handler();
  }

}

static void MX_GPIO_Init(void)
{

  /* GPIO Ports Clock Enable */
  __HAL_RCC_GPIOC_CLK_ENABLE();
  __HAL_RCC_GPIOA_CLK_ENABLE();
  __HAL_RCC_GPIOB_CLK_ENABLE();

}

void Error_Handler(void)
{
  /* USER CODE BEGIN Error_Handler_Debug */
  /* User can add his own implementation to report the HAL error return state */
  __disable_irq();
  while (1)
  {
	  recorded_errors++; // Place a Break-Point here.
  }
  /* USER CODE END Error_Handler_Debug */
}
